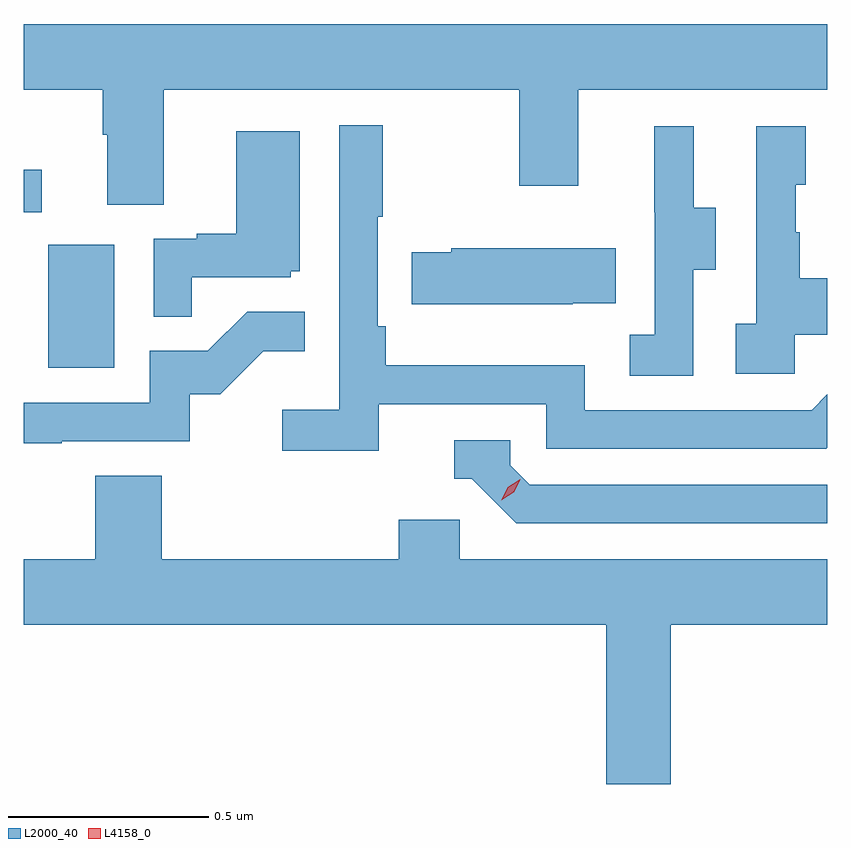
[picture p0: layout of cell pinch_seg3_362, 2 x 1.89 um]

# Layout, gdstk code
import gdstk
lib = gdstk.Library(unit=1e-6, precision=1e-09)
def R(c, l, rs):  # rectangles x0, y0, x1, y1
    for r in rs: c.add(gdstk.rectangle(r[:2], r[2:], *l))
def P(c, l, *ps):  # polygons
    for p in ps: c.add(gdstk.Polygon(p, *l))
L2000_40 = (2000, 40)
L4158_0 = (4158, 0)

pinch_seg3_362 = lib.new_cell('pinch_seg3_362')
R(pinch_seg3_362, L2000_40, [(965.186,693.564,965.35,693.871), (965.125,693.951,965.17,694.057)])
P(pinch_seg3_362, L2000_40, [(965.473,694.256),(966.358,694.256),(966.358,694.017),(966.505,694.017),(966.505,694.256),(967.125,694.256),(967.125,694.42),(965.125,694.42),(965.125,694.256),(965.321,694.256),(965.321,694.144),(965.333,694.144),(965.333,693.97),(965.473,693.97)],
  [(966.008,693.474),(966.426,693.474),(966.426,693.363),(967.123,693.363),(967.125,693.365),(967.125,693.498),(967.086,693.459),(966.522,693.459),(966.522,693.571),(966.026,693.571),(966.026,693.667),(966.006,693.667),(966.006,693.94),(966.019,693.94),(966.019,694.168),(965.91,694.168),(965.91,693.46),(965.769,693.46),(965.769,693.358),(966.008,693.358)],
  [(967.044,693.647),(967.125,693.647),(967.125,693.787),(967.057,693.787),(967.057,693.902),(967.047,693.902),(967.047,694.02),(967.072,694.02),(967.072,694.165),(966.948,694.165),(966.948,693.674),(966.897,693.674),(966.897,693.549),(967.044,693.549)],
  [(966.792,693.808),(966.847,693.808),(966.847,693.963),(966.793,693.963),(966.793,694.165),(966.695,694.165),(966.695,693.951),(966.696,693.951),(966.696,693.647),(966.633,693.647),(966.633,693.544),(966.792,693.544)],
  [(965.543,693.789),(965.79,693.789),(965.79,693.804),(965.812,693.804),(965.812,694.153),(965.654,694.153),(965.654,693.898),(965.555,693.898),(965.555,693.885),(965.448,693.885),(965.448,693.691),(965.543,693.691)],
  [(966.491,693.725),(966.599,693.725),(966.599,693.862),(966.189,693.862),(966.189,693.852),(966.091,693.852),(966.091,693.722),(966.491,693.722)],
  [(965.219,693.381),(965.538,693.381),(965.538,693.498),(965.614,693.498),(965.721,693.605),(965.825,693.605),(965.825,693.704),(965.681,693.704),(965.583,693.606),(965.439,693.606),(965.439,693.477),(965.125,693.477),(965.125,693.376),(965.219,693.376)],
  [(967.125,693.273),(966.384,693.273),(966.336,693.321),(966.336,693.384),(966.197,693.384),(966.197,693.288),(966.24,693.288),(966.351,693.177),(967.125,693.177)],
  [(966.735,692.924),(967.125,692.924),(967.125,693.088),(966.21,693.088),(966.21,693.186),(966.059,693.186),(966.059,693.088),(965.468,693.088),(965.468,693.296),(965.303,693.296),(965.303,693.088),(965.125,693.088),(965.125,692.924),(966.575,692.924),(966.575,692.528),(966.735,692.528)])
P(pinch_seg3_362, L4158_0, [(966.313,693.234),(966.313,693.234),(966.33,693.267),(966.361,693.287),(966.361,693.287),(966.361,693.286),(966.345,693.254),(966.314,693.234)])

lib.write_gds('pinch_seg3_362.gds')
